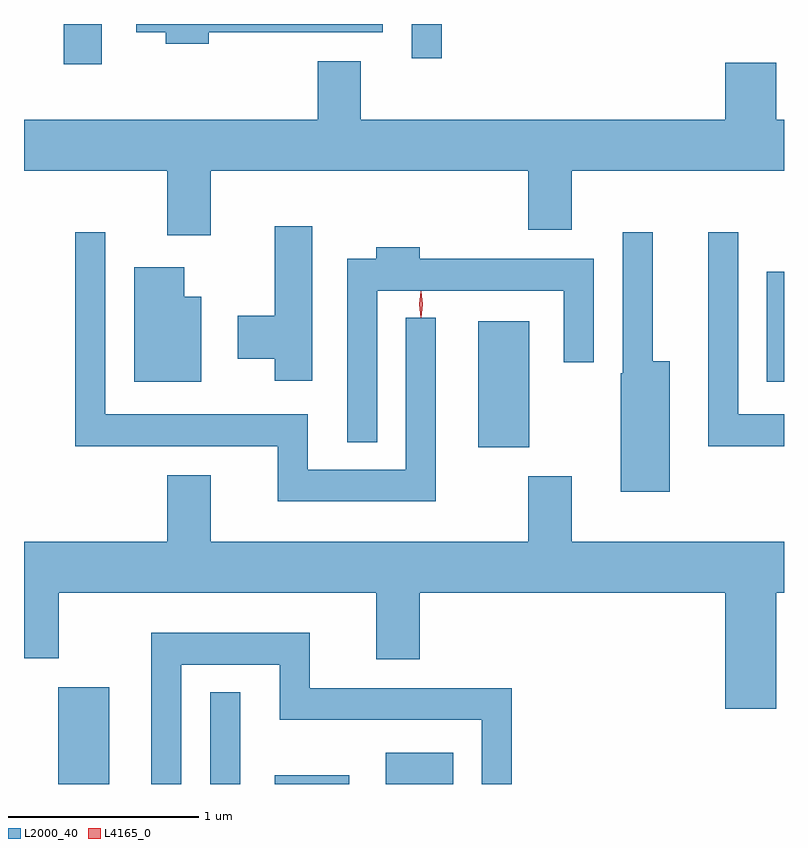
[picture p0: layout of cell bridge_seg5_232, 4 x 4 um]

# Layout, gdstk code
import gdstk
lib = gdstk.Library(unit=1e-6, precision=1e-09)
def R(c, l, rs):  # rectangles x0, y0, x1, y1
    for r in rs: c.add(gdstk.rectangle(r[:2], r[2:], *l))
def P(c, l, *ps):  # polygons
    for p in ps: c.add(gdstk.Polygon(p, *l))
L2000_40 = (2000, 40)
L4165_0 = (4165, 0)

bridge_seg5_232 = lib.new_cell('bridge_seg5_232')
R(bridge_seg5_232, L2000_40, [(1330.446,1429.149,1330.714,1429.659), (1331.246,1429.149,1331.404,1429.633), (1331.586,1429.149,1331.979,1429.194), (1332.171,1429.149,1332.524,1429.314), (1332.656,1430.921,1332.924,1431.584), (1334.176,1431.266,1334.266,1431.844), (1330.476,1432.936,1330.674,1433.149), (1332.306,1432.968,1332.464,1433.149)])
P(bridge_seg5_232, L2000_40, [(1331.239,1433.106),(1332.154,1433.106),(1332.154,1433.149),(1330.856,1433.149),(1330.856,1433.106),(1331.011,1433.106),(1331.011,1433.046),(1331.239,1433.046)],
  [(1331.249,1432.376),(1332.921,1432.376),(1332.921,1432.066),(1333.149,1432.066),(1333.149,1432.376),(1334.266,1432.376),(1334.266,1432.644),(1334.224,1432.644),(1334.224,1432.944),(1333.956,1432.944),(1333.956,1432.644),(1332.039,1432.644),(1332.039,1432.954),(1331.811,1432.954),(1331.811,1432.644),(1330.266,1432.644),(1330.266,1432.376),(1331.021,1432.376),(1331.021,1432.036),(1331.249,1432.036)],
  [(1331.784,1432.084),(1331.586,1432.084),(1331.586,1431.614),(1331.391,1431.614),(1331.391,1431.386),(1331.586,1431.386),(1331.586,1431.271),(1331.784,1431.271)],
  [(1334.266,1431.094),(1334.024,1431.094),(1334.024,1432.053),(1333.866,1432.053),(1333.866,1430.926),(1334.266,1430.926)],
  [(1332.434,1431.603),(1332.276,1431.603),(1332.276,1430.804),(1331.759,1430.804),(1331.759,1431.094),(1330.694,1431.094),(1330.694,1432.053),(1330.536,1432.053),(1330.536,1430.926),(1331.601,1430.926),(1331.601,1430.636),(1332.434,1430.636)],
  [(1333.664,1431.374),(1333.574,1431.374),(1333.574,1432.053),(1333.416,1432.053),(1333.416,1431.31),(1333.406,1431.31),(1333.406,1430.686),(1333.664,1430.686)],
  [(1332.124,1431.746),(1333.106,1431.746),(1333.106,1431.368),(1333.264,1431.368),(1333.264,1431.914),(1332.349,1431.914),(1332.349,1431.974),(1332.121,1431.974),(1332.121,1431.914),(1331.966,1431.914),(1331.966,1430.948),(1332.124,1430.948)],
  [(1331.199,1431.714),(1331.109,1431.714),(1331.109,1431.869),(1330.846,1431.869),(1330.846,1431.266),(1331.199,1431.266)],
  [(1334.224,1430.156),(1334.266,1430.156),(1334.266,1430.424),(1333.149,1430.424),(1333.149,1430.769),(1332.921,1430.769),(1332.921,1430.424),(1331.249,1430.424),(1331.249,1430.774),(1331.021,1430.774),(1331.021,1430.424),(1330.266,1430.424),(1330.266,1429.811),(1330.449,1429.811),(1330.449,1430.156),(1332.121,1430.156),(1332.121,1429.806),(1332.349,1429.806),(1332.349,1430.156),(1333.956,1430.156),(1333.956,1429.546),(1334.224,1429.546)],
  [(1331.094,1429.776),(1331.611,1429.776),(1331.611,1429.486),(1332.676,1429.486),(1332.676,1429.149),(1332.834,1429.149),(1332.834,1429.654),(1331.769,1429.654),(1331.769,1429.944),(1330.936,1429.944),(1330.936,1429.149),(1331.094,1429.149)])
P(bridge_seg5_232, L4165_0, [(1332.355,1431.607),(1332.354,1431.608),(1332.345,1431.674),(1332.354,1431.74),(1332.355,1431.741),(1332.356,1431.74),(1332.365,1431.674),(1332.356,1431.608)],
  [(1332.354,1431.604),(1332.345,1431.674),(1332.354,1431.743),(1332.355,1431.743),(1332.356,1431.743),(1332.365,1431.674),(1332.356,1431.604),(1332.355,1431.604)])

lib.write_gds('bridge_seg5_232.gds')
